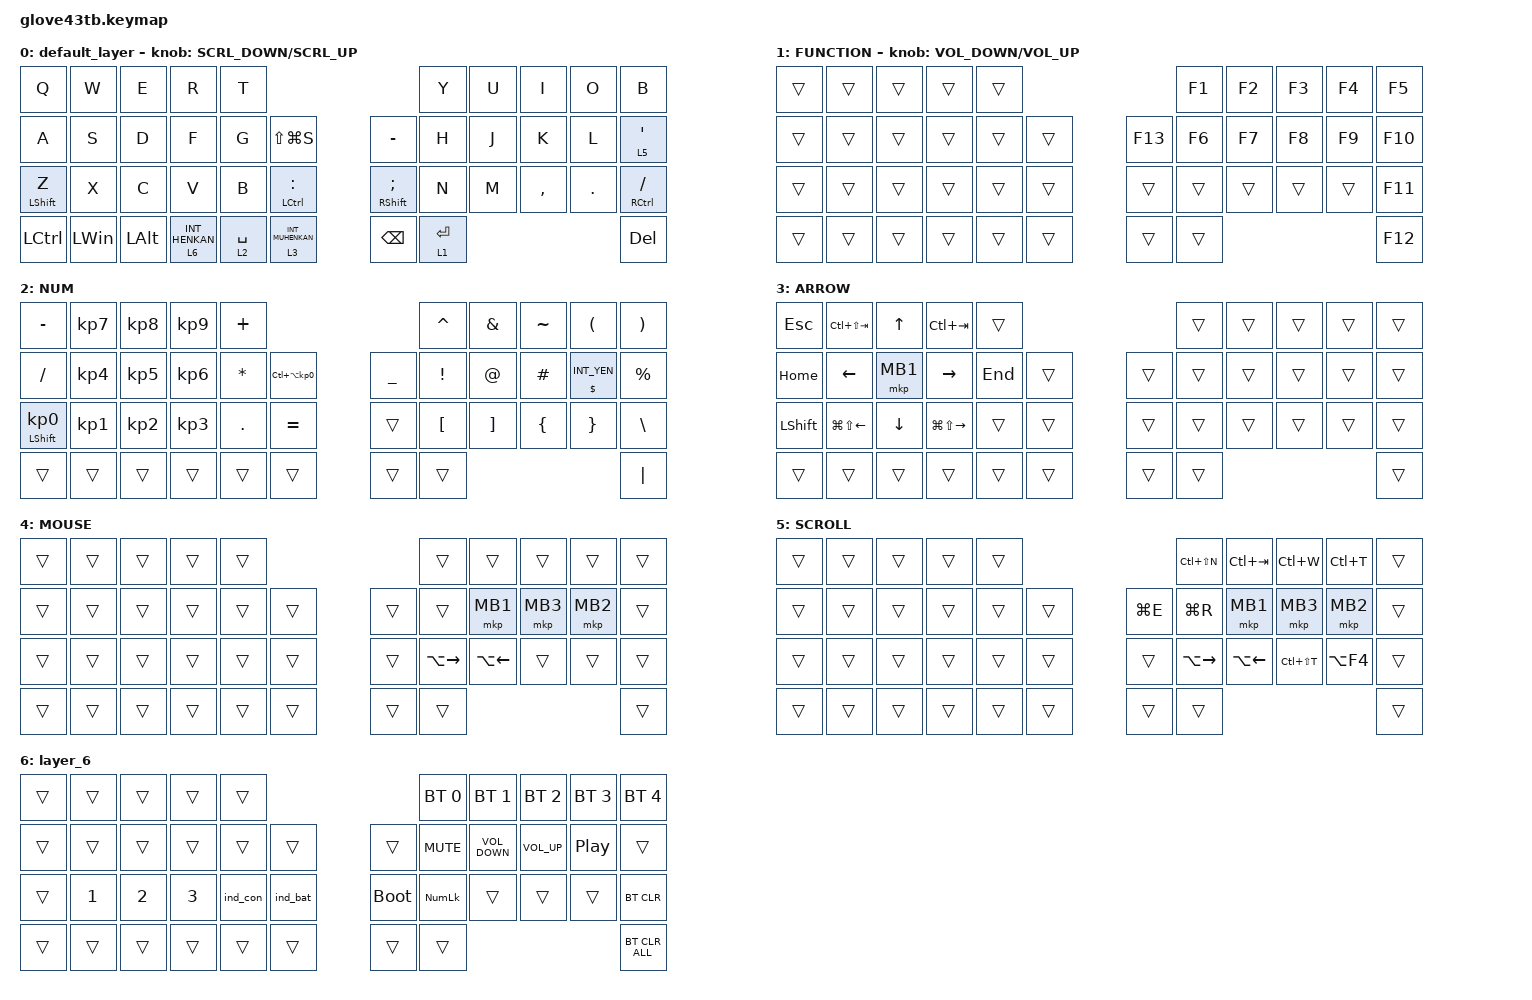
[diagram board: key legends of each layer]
#define ZMK_POINTING_DEFAULT_SCRL_VAL 150

#include <behaviors/rgbled_widget.dtsi>
#include <dt-bindings/zmk/input_transform.h>
#include <input/processors.dtsi>
#include <zephyr/dt-bindings/input/input-event-codes.h>
#include <behaviors.dtsi>
#include <dt-bindings/zmk/bt.h>
#include <dt-bindings/zmk/keys.h>
#include <dt-bindings/zmk/pointing.h>

&mt {
    flavor = "balanced";
    quick-tap-ms = <0>;
};

&trackball {
    automouse-layer = <4>;
    scroll-layers = <5>;

    // arrows {
    //     layers = <3>;
    //     bindings =
    //         <&kp RIGHT_ARROW>,
    //         <&kp LEFT_ARROW>,
    //         <&kp UP_ARROW>,
    //         <&kp DOWN_ARROW>;
    //     tick = <10>;
    //     wait-ms = <5>;
    //     tap-ms = <5>;
    // };
};

&mmv {
    delay-ms = <20>;
    trigger-period-ms = <5>;
    time-to-max-speed-ms = <100>;
    acceleration-exponent = <2>;
};

&msc {
    delay-ms = <3>;
    trigger-period-ms = <3>;
    time-to-max-speed-ms = <100>;
    acceleration-exponent = <0>;
};

/ {
    input_processors {
        zip_wheel_scaler: zip_wheel_scaler {
            compatible = "zmk,input-processor-scaler";
            #input-processor-cells = <2>;
            type = <INPUT_EV_REL>;
            codes = <INPUT_REL_WHEEL>;
            track-remainders;
        };
    };
};

/ {
    combos {
        compatible = "zmk,combos";

        tab {
            bindings = <&kp TAB>;
            key-positions = <11 12>;
        };

        shift_tab {
            bindings = <&kp LS(TAB)>;
            key-positions = <12 13>;
        };

        muhennkann {
            bindings = <&to_layer_0 INT_MUHENKAN>;
            key-positions = <11 10>;
        };

        double_quotation {
            bindings = <&kp DOUBLE_QUOTES>;
            key-positions = <20 21>;
        };

        eq {
            bindings = <&kp EQUAL>;
            key-positions = <24 25>;
        };
    };

    macros {
        to_layer_0: to_layer_0 {
            compatible = "zmk,behavior-macro-one-param";
            #binding-cells = <1>;
            bindings = <&to 0 &macro_param_1to1 &kp MACRO_PLACEHOLDER>;
            label = "TO_LAYER_0";
        };
    };

    behaviors {
        lt_to_layer_0: lt_to_layer_0 {
            compatible = "zmk,behavior-hold-tap";
            label = "LAYER_TAP_TO_0";
            bindings = <&mo>, <&to_layer_0>;

            #binding-cells = <2>;
            tapping-term-ms = <200>;
        };

        sensor_rotate_kp: sensor_rotate_kp {
            compatible = "zmk,behavior-sensor-rotate-var";
            #sensor-binding-cells = <2>;
            bindings = <&kp>, <&kp>;
        };

        mouse_wheel_scroll: mouse_wheel_scroll {
            compatible = "zmk,behavior-sensor-rotate-var";
            #sensor-binding-cells = <2>;
            bindings = <&msc>, <&msc>;

            tap-ms = <20>;
        };
    };

    keymap {
        compatible = "zmk,keymap";

        default_layer {
            bindings = <
&kp Q             &kp W         &kp E         &kp R                        &kp T                                                                      &kp Y        &kp U  &kp I      &kp O    &kp B
&kp A             &kp S         &kp D         &kp F                        &kp G        &kp LS(LG(S))                      &kp MINUS                  &kp H        &kp J  &kp K      &kp L    &lt 5 SQT
&mt LEFT_SHIFT Z  &kp X         &kp C         &kp V                        &kp B        &mt LCTRL COLON                    &mt RIGHT_SHIFT SEMICOLON  &kp N        &kp M  &kp COMMA  &kp DOT  &mt RCTRL SLASH
&kp LCTRL         &kp LEFT_WIN  &kp LEFT_ALT  &lt_to_layer_0 6 INT_HENKAN  &lt 2 SPACE  &lt_to_layer_0 3 INT_MUHENKAN      &kp BACKSPACE              &lt 1 ENTER                             &kp DEL
            >;

            sensor-bindings = <&mouse_wheel_scroll SCRL_DOWN SCRL_UP>;
        };

        FUNCTION {
            bindings = <
&trans  &trans  &trans  &trans  &trans                       &kp F1  &kp F2  &kp F3  &kp F4  &kp F5
&trans  &trans  &trans  &trans  &trans  &trans      &kp F13  &kp F6  &kp F7  &kp F8  &kp F9  &kp F10
&trans  &trans  &trans  &trans  &trans  &trans      &trans   &trans  &trans  &trans  &trans  &kp F11
&trans  &trans  &trans  &trans  &trans  &trans      &trans   &trans                          &kp F12
            >;

            sensor-bindings = <&sensor_rotate_kp C_VOLUME_DOWN C_VOLUME_UP>;
        };

        NUM {
            bindings = <
&kp MINUS                   &kp KP_NUMBER_7  &kp KP_NUMBER_8  &kp KP_NUMBER_9  &kp PLUS                                                   &kp CARET         &kp AMPERSAND      &kp TILDE       &kp LEFT_PARENTHESIS  &kp RIGHT_PARENTHESIS
&kp SLASH                   &kp KP_NUMBER_4  &kp KP_NUMBER_5  &kp KP_NUMBER_6  &kp ASTERISK  &kp LC(LA(KP_NUMBER_0))      &kp UNDERSCORE  &kp EXCLAMATION   &kp AT_SIGN        &kp HASH        &mt DOLLAR INT_YEN    &kp PERCENT
&mt LEFT_SHIFT KP_NUMBER_0  &kp KP_NUMBER_1  &kp KP_NUMBER_2  &kp KP_NUMBER_3  &kp PERIOD    &kp EQUAL                    &trans          &kp LEFT_BRACKET  &kp RIGHT_BRACKET  &kp LEFT_BRACE  &kp RIGHT_BRACE       &kp BACKSLASH
&trans                      &trans           &trans           &trans           &trans        &trans                       &trans          &trans                                                                     &kp PIPE
            >;
        };

        ARROW {
            bindings = <
&kp ESCAPE      &kp LC(LS(TAB))         &kp UP_ARROW    &kp LC(TAB)              &trans                       &trans  &trans  &trans  &trans  &trans
&kp HOME        &kp LEFT_ARROW          &mkp MB1        &kp RIGHT_ARROW          &kp END  &trans      &trans  &trans  &trans  &trans  &trans  &trans
&kp LEFT_SHIFT  &kp LG(LS(LEFT_ARROW))  &kp DOWN_ARROW  &kp LG(LS(RIGHT_ARROW))  &trans   &trans      &trans  &trans  &trans  &trans  &trans  &trans
&trans          &trans                  &trans          &trans                   &trans   &trans      &trans  &trans                          &trans
            >;
        };

        MOUSE {
            bindings = <
&trans  &trans  &trans  &trans  &trans                      &trans               &trans              &trans    &trans    &trans
&trans  &trans  &trans  &trans  &trans  &trans      &trans  &trans               &mkp MB1            &mkp MB3  &mkp MB2  &trans
&trans  &trans  &trans  &trans  &trans  &trans      &trans  &kp LA(RIGHT_ARROW)  &kp LA(LEFT_ARROW)  &trans    &trans    &trans
&trans  &trans  &trans  &trans  &trans  &trans      &trans  &trans                                                       &trans
            >;
        };

        SCROLL {
            bindings = <
&trans  &trans  &trans  &trans  &trans                         &kp LC(LS(N))        &kp LC(TAB)         &kp LC(W)      &kp LC(T)   &trans
&trans  &trans  &trans  &trans  &trans  &trans      &kp LG(E)  &kp LG(R)            &mkp MB1            &mkp MB3       &mkp MB2    &trans
&trans  &trans  &trans  &trans  &trans  &trans      &trans     &kp LA(RIGHT_ARROW)  &kp LA(LEFT_ARROW)  &kp LC(LS(T))  &kp LA(F4)  &trans
&trans  &trans  &trans  &trans  &trans  &trans      &trans     &trans                                                              &trans
            >;
        };

        layer_6 {
            bindings = <
&trans  &trans        &trans        &trans        &trans                               &bt BT_SEL 0  &bt BT_SEL 1       &bt BT_SEL 2     &bt BT_SEL 3      &bt BT_SEL 4
&trans  &trans        &trans        &trans        &trans    &trans        &trans       &kp C_MUTE    &kp C_VOLUME_DOWN  &kp C_VOLUME_UP  &kp C_PLAY_PAUSE  &trans
&trans  &kp NUMBER_1  &kp NUMBER_2  &kp NUMBER_3  &ind_con  &ind_bat      &bootloader  &kp KP_NLCK   &trans             &trans           &trans            &bt BT_CLR
&trans  &trans        &trans        &trans        &trans    &trans        &trans       &trans                                                              &bt BT_CLR_ALL
            >;
        };
    };
};
